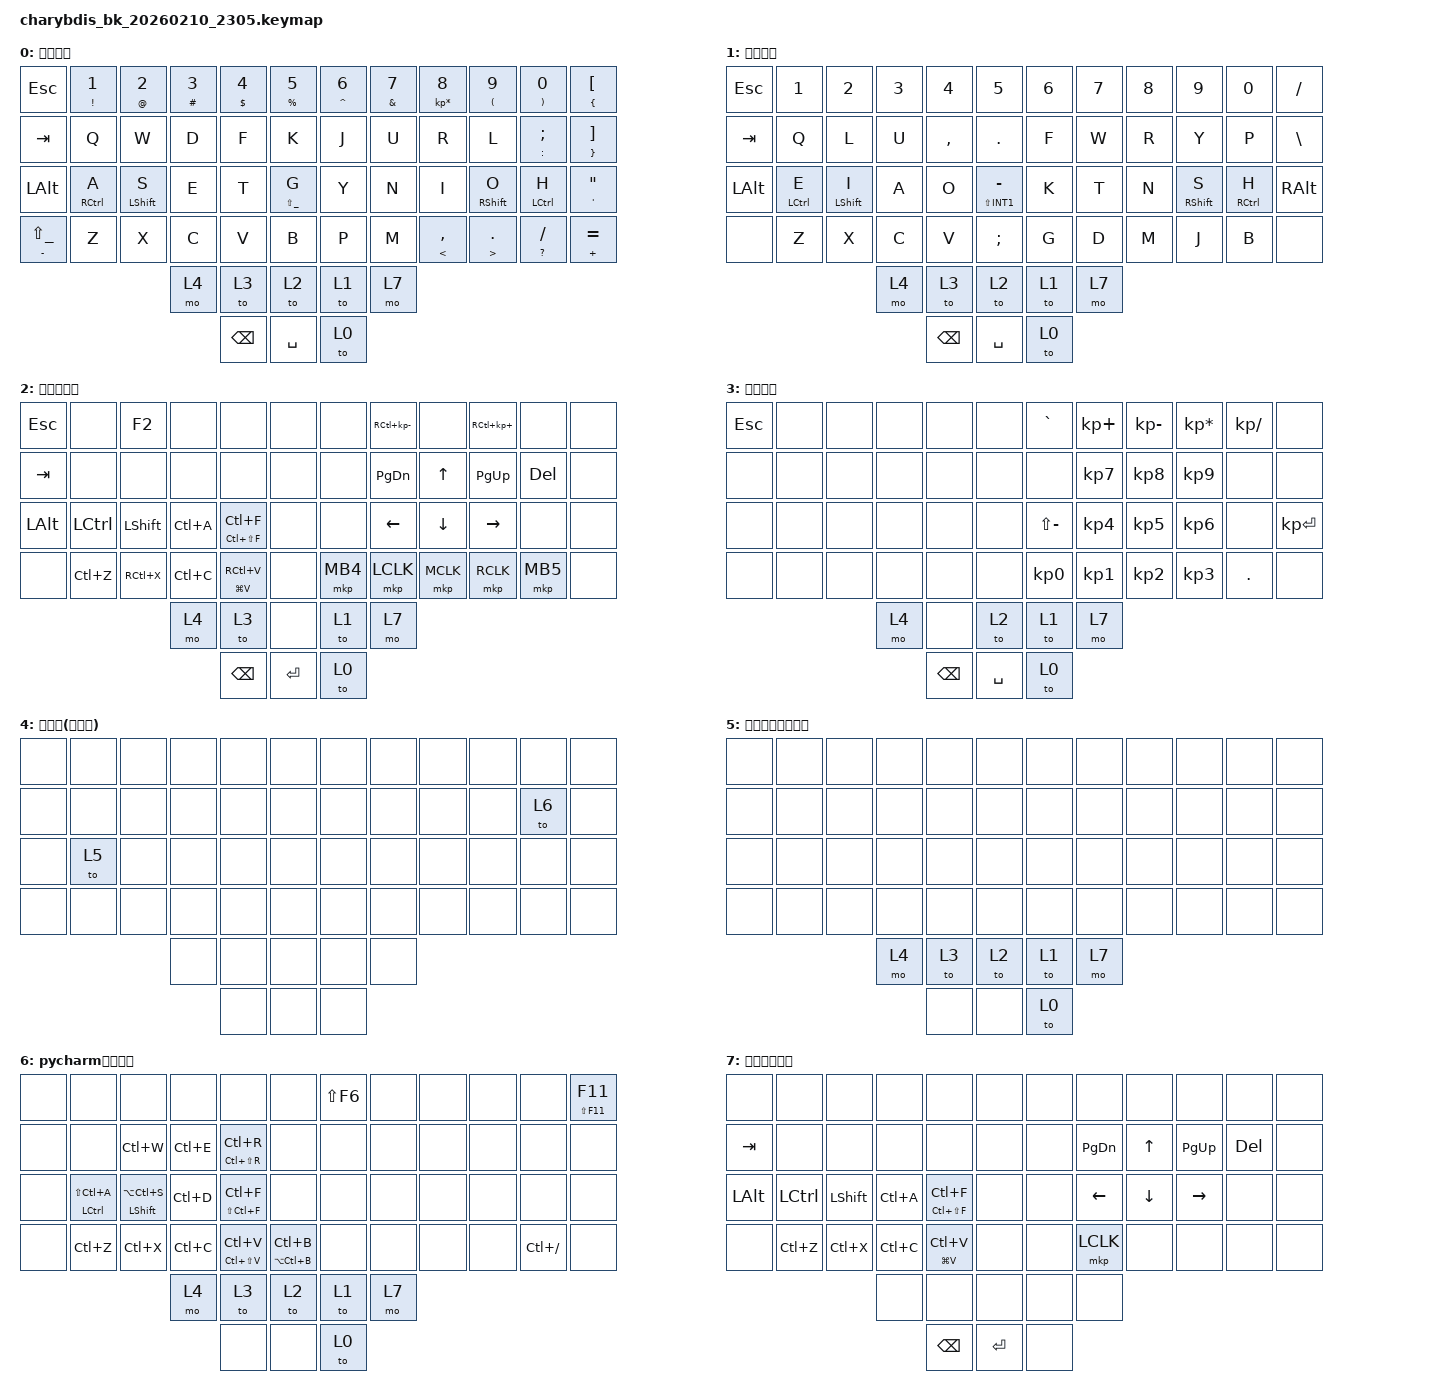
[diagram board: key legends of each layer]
#include <dt-bindings/zmk/mouse.h>
#include <behaviors/mouse_keys.dtsi>
#include <behaviors.dtsi>
#include <dt-bindings/zmk/keys.h>
#include <dt-bindings/zmk/pointing.h>

/ {
    /* --- トラックボール入力設定 --- */

    trackball_listener {
        compatible = "zmk,input-behavior-listener";
        device = <&vtrackball>;
        status = "okay";

        /* 根拠: 0,1,2の全レイヤーでマウス移動を許可する */

        layers = <0 1 2 3 4 5 6 7>; // <-- ここを修正
        evt-type = <INPUT_EV_REL>;
        x-input-code = <INPUT_REL_X>;
        y-input-code = <INPUT_REL_Y>;
        scale-multiplier = <1>;
        scale-divisor = <4>;
    };

    /* --- レイヤー3専用：低速設定（DPI変更） --- */
    /* ----------
    trackball_snipe_listener {
        compatible = "zmk,input-behavior-listener";
        device = <&vtrackball>;
        status = "okay";

        // 下記レイヤーの時だけこの設定を適用する

        layers = <2 3>;
        evt-type = <INPUT_EV_REL>;
        x-input-code = <INPUT_REL_X>;
        y-input-code = <INPUT_REL_Y>;
        scale-multiplier = <1>;

        // 根拠: 分母を大きくすると、マウスはより精密（低速）に動きます

        scale-divisor = <16>; // 2から8に変えることで、通常より4倍遅くなります
    };


    trackball_scroll_listener {
        compatible = "zmk,input-behavior-listener";
        device = <&vtrackball>;
        layers = <9>;
        evt-type = <INPUT_EV_REL>;
        x-input-code = <INPUT_REL_MISC>;
        y-input-code = <INPUT_REL_WHEEL>;
        y-invert;
        bindings = <&ib_wheel_scaler 1 14>;
    };

    --------- */

    ib_wheel_scaler: ib_wheel_scaler {
        compatible = "zmk,input-behavior-scaler";
        #binding-cells = <2>;
        evt-type = <INPUT_EV_REL>;
        input-code = <INPUT_REL_WHEEL>;
    };

    /* --- コンボ設定 --- */

    combos {
        compatible = "zmk,combos";

        zenkaku-hankaku-toggle {
            bindings = <&kp GRAVE>;
            key-positions = <14 13>;
            timeout-ms = <60>;
            require-prior-idle-ms = <100>;
            layers = <1 3 2 0>;
            slow-release;
        };
    };

    /* --- 特殊挙動定義 (エラー解消の根拠) --- */

    behaviors {
        auto_shift: auto_shift {
            compatible = "zmk,behavior-hold-tap";
            label = "AUTO_SHIFT";
            #binding-cells = <2>;
            flavor = "tap-preferred";
            tapping-term-ms = <280>;
            quick-tap-ms = <175>;
            bindings = <&kp>, <&kp>;
        };

        hmr: hmr {
            compatible = "zmk,behavior-hold-tap";
            label = "HMR";
            #binding-cells = <2>;
            tapping-term-ms = <190>;
            quick-tap-ms = <175>;
            flavor = "balanced";
            bindings = <&kp>, <&kp>;

            hold-trigger-key-positions = <0 1 2 3 4 5 12 13 14 15 16 17 24 25 26 27 28 29 36 37 38 39 40 41 48 49 50 51 52 53 54 55>;
        };

        hml: hml {
            compatible = "zmk,behavior-hold-tap";
            label = "HML";
            #binding-cells = <2>;
            tapping-term-ms = <190>;
            quick-tap-ms = <175>;
            flavor = "balanced";
            bindings = <&kp>, <&kp>;

            hold-trigger-key-positions = <6 7 8 9 10 11 18 19 20 21 22 23 30 31 32 33 34 35 42 43 44 45 46 47 48 49 50 51 52 53 54 55>;
        };
    };

    /* --- キーマップ --- */

    keymap {
        compatible = "zmk,keymap";

        norman {
            bindings = <
&kp ESC                           &auto_shift EXCLAMATION N1  &auto_shift AT_SIGN N2    &auto_shift POUND N3  &auto_shift DOLLAR N4  &auto_shift PERCENT N5          &auto_shift CARET N6  &auto_shift AMPERSAND N7  &auto_shift KP_ASTERISK N8  &auto_shift LEFT_PARENTHESIS N9  &auto_shift RIGHT_PARENTHESIS N0  &auto_shift LEFT_BRACE LEFT_BRACKET
&kp TAB                           &kp Q                       &kp W                     &kp D                 &kp F                  &kp K                           &kp J                 &kp U                     &kp R                       &kp L                            &auto_shift COLON SEMICOLON       &auto_shift RIGHT_BRACE RIGHT_BRACKET
&kp LALT                          &auto_shift RCTRL A         &auto_shift LEFT_SHIFT S  &kp E                 &kp T                  &auto_shift LS(UNDERSCORE) G    &kp Y                 &kp N                     &kp I                       &auto_shift RIGHT_SHIFT O        &auto_shift LCTRL H               &auto_shift SQT DOUBLE_QUOTES
&auto_shift MINUS LS(UNDERSCORE)  &kp Z                       &kp X                     &kp C                 &kp V                  &kp B                           &kp P                 &kp M                     &auto_shift LT COMMA        &auto_shift GREATER_THAN DOT     &auto_shift QUESTION SLASH        &auto_shift PLUS EQUAL
                                                                                        &mo 4                 &to 3                  &to 2                           &to 1                 &mo 7
                                                                                                              &kp BACKSPACE          &kp SPACE                       &to 0
            >;

            label = "英語配列";
        };

        onisi {
            label = "大西配列";
            bindings = <
&kp ESCAPE    &kp N1               &kp N2                    &kp N3  &kp N4         &kp N5                        &kp N6  &kp N7  &kp N8  &kp N9                     &kp N0               &kp SLASH
&kp TAB       &kp Q                &kp L                     &kp U   &kp COMMA      &kp DOT                       &kp F   &kp W   &kp R   &kp Y                      &kp P                &kp BSLH
&kp LEFT_ALT  &auto_shift LCTRL E  &auto_shift LEFT_SHIFT I  &kp A   &kp O          &auto_shift LS(INT1) MINUS    &kp K   &kp T   &kp N   &auto_shift RIGHT_SHIFT S  &auto_shift RCTRL H  &kp RIGHT_ALT
&none         &kp Z                &kp X                     &kp C   &kp V          &kp SEMI                      &kp G   &kp D   &kp M   &kp J                      &kp B                &none
                                                             &mo 4   &to 3          &to 2                         &to 1   &mo 7
                                                                     &kp BACKSPACE  &kp SPACE                     &to 0
            >;
        };

        mouse {
            label = "マウス移動";
            bindings = <
&kp ESC       &none      &kp F2          &none      &none                        &none        &none     &kp RC(KP_MINUS)  &none           &kp RC(KP_PLUS)  &none       &none
&kp TAB       &none      &none           &none      &none                        &none        &none     &kp PAGE_DOWN     &kp UP_ARROW    &kp PAGE_UP      &kp DELETE  &none
&kp LEFT_ALT  &kp LCTRL  &kp LEFT_SHIFT  &kp LC(A)  &auto_shift LC(LS(F)) LC(F)  &none        &none     &kp LEFT          &kp DOWN_ARROW  &kp RIGHT_ARROW  &none       &none
&none         &kp LC(Z)  &kp RC(X)       &kp LC(C)  &auto_shift LG(V) RC(V)      &none        &mkp MB4  &mkp LCLK         &mkp MCLK       &mkp RCLK        &mkp MB5    &none
                                         &mo 4      &to 3                        &none        &to 1     &mo 7
                                                    &kp BACKSPACE                &kp ENTER    &to 0
            >;
        };

        number {
            bindings = <
&kp ESC  &none  &none  &none  &none          &none        &kp GRAVE        &kp KP_PLUS      &kp KP_MINUS     &kp KP_ASTERISK  &kp KP_SLASH  &none
&none    &none  &none  &none  &none          &none        &none            &kp KP_NUMBER_7  &kp KP_NUMBER_8  &kp KP_NUMBER_9  &none         &none
&none    &none  &none  &none  &none          &none        &kp LS(MINUS)    &kp KP_NUMBER_4  &kp KP_NUMBER_5  &kp KP_NUMBER_6  &none         &kp KP_ENTER
&none    &none  &none  &none  &none          &none        &kp KP_NUMBER_0  &kp KP_NUMBER_1  &kp KP_NUMBER_2  &kp KP_NUMBER_3  &kp DOT       &none
                       &mo 4  &none          &to 2        &to 1            &mo 7
                              &kp BACKSPACE  &kp SPACE    &to 0
            >;

            label = "テンキー";
        };

        other_base {
            bindings = <
&none  &none  &none  &none  &none  &none    &none  &none  &none  &none  &none  &none
&none  &none  &none  &none  &none  &none    &none  &none  &none  &none  &to 6  &none
&none  &to 5  &none  &none  &none  &none    &none  &none  &none  &none  &none  &none
&none  &none  &none  &none  &none  &none    &none  &none  &none  &none  &none  &none
                     &none  &none  &none    &none  &none
                            &none  &none    &none
            >;

            label = "ベース(アプリ)";
        };

        Excel {
            bindings = <
&none  &none  &none  &none  &none  &none    &none  &none  &none  &none  &none  &none
&none  &none  &none  &none  &none  &none    &none  &none  &none  &none  &none  &none
&none  &none  &none  &none  &none  &none    &none  &none  &none  &none  &none  &none
&none  &none  &none  &none  &none  &none    &none  &none  &none  &none  &none  &none
                     &mo 4  &to 3  &to 2    &to 1  &mo 7
                            &none  &none    &to 0
            >;

            label = "エクセルコマンド";
        };

        pycharm_command {
            bindings = <
&none  &none                        &none                             &none      &none                        &none                          &kp LS(F6)  &none  &none  &none  &none          &auto_shift LS(F11) F11
&none  &none                        &kp LC(W)                         &kp LC(E)  &auto_shift LC(LS(R)) LC(R)  &none                          &none       &none  &none  &none  &none          &none
&none  &auto_shift LCTRL LS(LC(A))  &auto_shift LEFT_SHIFT LA(LC(S))  &kp LC(D)  &auto_shift LS(LC(F)) LC(F)  &none                          &none       &none  &none  &none  &none          &none
&none  &kp LC(Z)                    &kp LC(X)                         &kp LC(C)  &auto_shift LC(LS(V)) LC(V)  &auto_shift LA(LC(B)) LC(B)    &none       &none  &none  &none  &kp LC(SLASH)  &none
                                                                      &mo 4      &to 3                        &to 2                          &to 1       &mo 7
                                                                                 &none                        &none                          &to 0
            >;

            label = "pycharmコマンド";
        };

        edit {
            label = "文字入力確定";
            bindings = <
&none         &none      &none           &none      &none                        &none        &none  &none           &none           &none            &none    &none
&kp TAB       &none      &none           &none      &none                        &none        &none  &kp PAGE_DOWN   &kp UP          &kp PAGE_UP      &kp DEL  &none
&kp LEFT_ALT  &kp LCTRL  &kp LEFT_SHIFT  &kp LC(A)  &auto_shift LC(LS(F)) LC(F)  &none        &none  &kp LEFT_ARROW  &kp DOWN_ARROW  &kp RIGHT_ARROW  &none    &none
&none         &kp LC(Z)  &kp LC(X)       &kp LC(C)  &auto_shift LG(V) LC(V)      &none        &none  &mkp LCLK       &none           &none            &none    &none
                                         &none      &none                        &none        &none  &none
                                                    &kp BACKSPACE                &kp ENTER    &none
            >;
        };
    };
};
